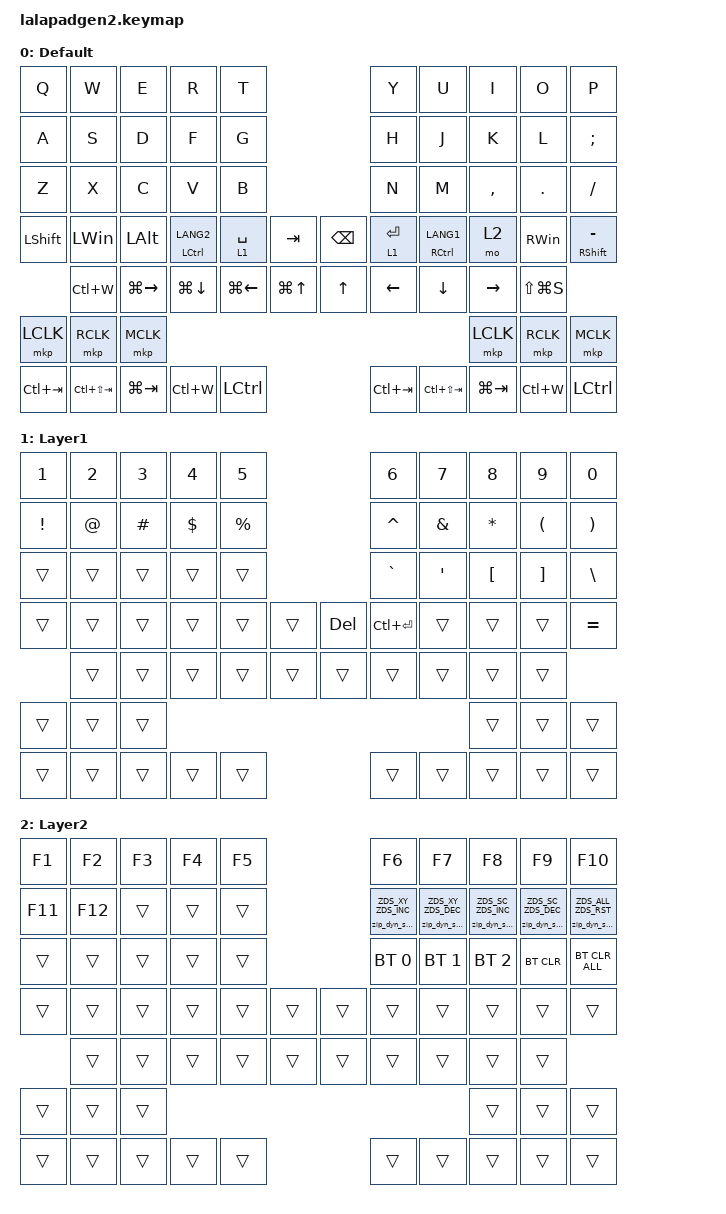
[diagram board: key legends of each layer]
#include <input/processors.dtsi>
#include <dt-bindings/zmk/zip_dynamic_scale.h>
#include <behaviors.dtsi>
#include <dt-bindings/zmk/bt.h>
#include <dt-bindings/zmk/keys.h>
#include <dt-bindings/zmk/pointing.h>

#define DEFAULT_LAYER   0
#define SECONDARY_LAYER 1
#define TERTIARY_LAYER  2
#define SYSTEM_LAYER    3

&mt { quick-tap-ms = <200>; };

&lt { quick-tap-ms = <200>; };

/ {
    behaviors {
        zip_dyn_scale: zip_dyn_scale {
            compatible = "zmk,behavior-zip-dynamic-scale";
            #binding-cells = <2>;
        };

        zip_dyn_scale_set: zip_dyn_scale_set {
            compatible = "zmk,behavior-zip-dynamic-scale-set";
            #binding-cells = <2>;
        };

        mt2: mod_tap2 {
            compatible = "zmk,behavior-hold-tap";
            #binding-cells = <2>;
            flavor = "tap-preferred";
            tapping-term-ms = <200>;
            quick-tap-ms = <200>;
            require-prior-idle-ms = <125>;
            bindings = <&kp>, <&kp>;
        };

        tap_dance_layer_1and2: tap_dance_layer_1and2 {
            compatible = "zmk,behavior-tap-dance";
            label = "td_mo12";
            #binding-cells = <0>;
            bindings = <&mo 1>, <&mo 0>;
        };
    };

    combos {
        compatible = "zmk,combos";

        COMBO_ESC {
            bindings = <&kp ESCAPE>;
            key-positions = <0 1>;
        };
    };

    keymap {
        compatible = "zmk,keymap";

        DEFAULT_LAYER {
            display-name = "Default";
            bindings = <
&kp Q        &kp W            &kp E                &kp R                   &kp T                                                &kp Y        &kp U                    &kp I        &kp O          &kp P
&kp A        &kp S            &kp D                &kp F                   &kp G                                                &kp H        &kp J                    &kp K        &kp L          &kp SEMI
&kp Z        &kp X            &kp C                &kp V                   &kp B                                                &kp N        &kp M                    &kp COMMA    &kp DOT        &kp FSLH
&kp LSHFT    &kp LEFT_WIN     &kp LEFT_ALT         &mt LEFT_CONTROL LANG2  &lt 1 SPACE         &kp TAB           &kp BACKSPACE  &lt 1 ENTER  &mt RIGHT_CONTROL LANG1  &mo 2        &kp RIGHT_WIN  &mt RIGHT_SHIFT MINUS
             &kp LC(W)        &kp LG(RIGHT_ARROW)  &kp LG(DOWN_ARROW)      &kp LG(LEFT_ARROW)  &kp LG(UP_ARROW)  &kp UP         &kp LEFT     &kp DOWN                 &kp RIGHT    &kp LS(LG(S))
&mkp LCLK    &mkp RCLK        &mkp MCLK                                                                                                                               &mkp LCLK    &mkp RCLK      &mkp MCLK
&kp LC(TAB)  &kp LC(LS(TAB))  &kp LG(TAB)          &kp LC(W)               &kp LEFT_CONTROL                                     &kp LC(TAB)  &kp LC(LS(TAB))          &kp LG(TAB)  &kp LC(W)      &kp LEFT_CONTROL
            >;
        };

        NUMBER {
            display-name = "Layer1";
            bindings = <
&kp N1           &kp N2       &kp N3    &kp N4      &kp N5                        &kp N6         &kp N7         &kp N8            &kp N9                &kp N0
&kp EXCLAMATION  &kp AT_SIGN  &kp HASH  &kp DOLLAR  &kp PERCENT                   &kp CARET      &kp AMPERSAND  &kp ASTERISK      &kp LEFT_PARENTHESIS  &kp RIGHT_PARENTHESIS
&trans           &trans       &trans    &trans      &trans                        &kp GRAVE      &kp SQT        &kp LEFT_BRACKET  &kp RIGHT_BRACKET     &kp BACKSLASH
&trans           &trans       &trans    &trans      &trans       &trans  &kp DEL  &kp LC(ENTER)  &trans         &trans            &trans                &kp EQUAL
                 &trans       &trans    &trans      &trans       &trans  &trans   &trans         &trans         &trans            &trans
&trans           &trans       &trans                                                                            &trans            &trans                &trans
&trans           &trans       &trans    &trans      &trans                        &trans         &trans         &trans            &trans                &trans
            >;
        };

        FUNCTION {
            display-name = "Layer2";
            bindings = <
&kp F1   &kp F2   &kp F3  &kp F4  &kp F5                  &kp F6                         &kp F7                         &kp F8                         &kp F9                         &kp F10
&kp F11  &kp F12  &trans  &trans  &trans                  &zip_dyn_scale ZDS_XY ZDS_INC  &zip_dyn_scale ZDS_XY ZDS_DEC  &zip_dyn_scale ZDS_SC ZDS_INC  &zip_dyn_scale ZDS_SC ZDS_DEC  &zip_dyn_scale ZDS_ALL ZDS_RST
&trans   &trans   &trans  &trans  &trans                  &bt BT_SEL 0                   &bt BT_SEL 1                   &bt BT_SEL 2                   &bt BT_CLR                     &bt BT_CLR_ALL
&trans   &trans   &trans  &trans  &trans  &trans  &trans  &trans                         &trans                         &trans                         &trans                         &trans
         &trans   &trans  &trans  &trans  &trans  &trans  &trans                         &trans                         &trans                         &trans
&trans   &trans   &trans                                                                                                &trans                         &trans                         &trans
&trans   &trans   &trans  &trans  &trans                  &trans                         &trans                         &trans                         &trans                         &trans
            >;
        };
    };

    conditional_layers {
        compatible = "zmk,conditional-layers";

        Cond_Syslayer {
            if-layers = <1 4>;
            then-layer = <3>;
        };
    };
};
